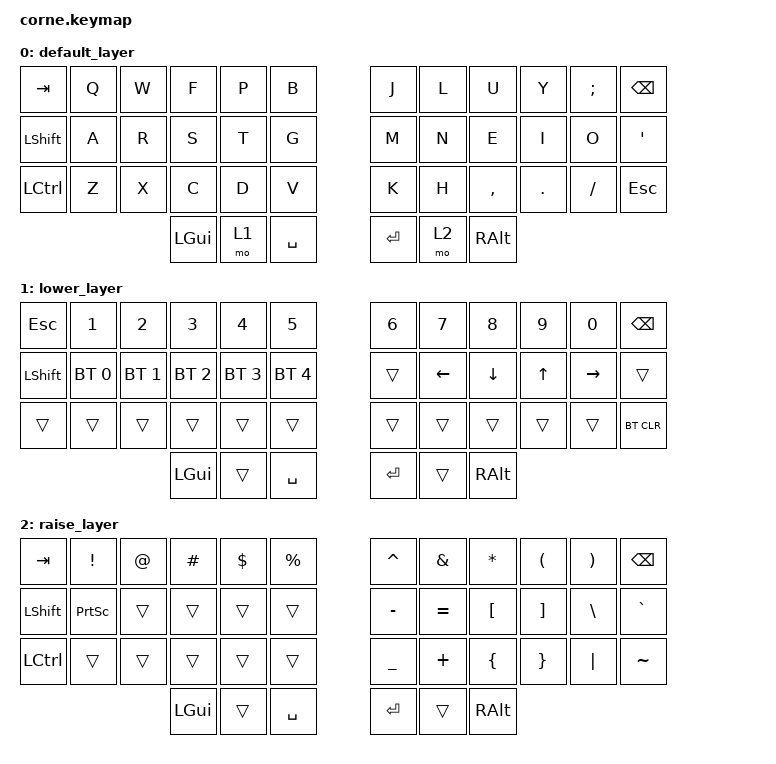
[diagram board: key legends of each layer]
/*
 * Copyright (c) 2020 The ZMK Contributors
 *
 * SPDX-License-Identifier: MIT
 */

#include <behaviors.dtsi>
#include <dt-bindings/zmk/bt.h>
#include <dt-bindings/zmk/keys.h>

/ {
    keymap {
        compatible = "zmk,keymap";

        default_layer {
            // -----------------------------------------------------------------------------------------
            // |  TAB |  Q  |  W  |  E  |  R  |  T  |   |  Y  |  U   |  I  |  O  |  P  | BSPC |
            // | CTRL |  A  |  S  |  D  |  F  |  G  |   |  H  |  J   |  K  |  L  |  ;  |  '   |
            // | SHFT |  Z  |  X  |  C  |  V  |  B  |   |  N  |  M   |  ,  |  .  |  /  | ESC  |
            //                    | GUI | LWR | SPC |   | ENT | RSE  | ALT |

            bindings = <
&kp TAB           &kp Q  &kp W  &kp F     &kp P  &kp B        &kp J    &kp L  &kp U      &kp Y    &kp SEMI  &kp BSPC
&kp LEFT_SHIFT    &kp A  &kp R  &kp S     &kp T  &kp G        &kp M    &kp N  &kp E      &kp I    &kp O     &kp APOS
&kp LEFT_CONTROL  &kp Z  &kp X  &kp C     &kp D  &kp V        &kp K    &kp H  &kp COMMA  &kp DOT  &kp FSLH  &kp ESC
                                &kp LGUI  &mo 1  &kp SPACE    &kp RET  &mo 2  &kp RALT
            >;
        };

        lower_layer {
            // -----------------------------------------------------------------------------------------
            // |  TAB |  1  |  2  |  3  |  4  |  5  |   |  6  |  7  |  8  |  9  |  0  | BSPC |
            // | BTCLR| BT1 | BT2 | BT3 | BT4 | BT5 |   | LFT | DWN |  UP | RGT |     |      |
            // | SHFT |     |     |     |     |     |   |     |     |     |     |     |      |
            //                    | GUI |     | SPC |   | ENT |     | ALT |

            bindings = <
&kp ESCAPE      &kp N1        &kp N2        &kp N3        &kp N4        &kp N5          &kp N6   &kp N7    &kp N8    &kp N9  &kp N0     &kp BSPC
&kp LEFT_SHIFT  &bt BT_SEL 0  &bt BT_SEL 1  &bt BT_SEL 2  &bt BT_SEL 3  &bt BT_SEL 4    &trans   &kp LEFT  &kp DOWN  &kp UP  &kp RIGHT  &trans
&trans          &trans        &trans        &trans        &trans        &trans          &trans   &trans    &trans    &trans  &trans     &bt BT_CLR
                                            &kp LGUI      &trans        &kp SPACE       &kp RET  &trans    &kp RALT
            >;
        };

        raise_layer {
            // -----------------------------------------------------------------------------------------
            // |  TAB |  !  |  @  |  #  |  $  |  %  |   |  ^  |  &  |  *  |  (  |  )  | BSPC |
            // | CTRL |     |     |     |     |     |   |  -  |  =  |  [  |  ]  |  \  |  `   |
            // | SHFT |     |     |     |     |     |   |  _  |  +  |  {  |  }  | "|" |  ~   |
            //                    | GUI |     | SPC |   | ENT |     | ALT |

            bindings = <
&kp TAB           &kp EXCL         &kp AT  &kp HASH  &kp DLLR  &kp PRCNT    &kp CARET  &kp AMPS   &kp ASTRK  &kp LPAR  &kp RPAR  &kp BSPC
&kp LEFT_SHIFT    &kp PRINTSCREEN  &trans  &trans    &trans    &trans       &kp MINUS  &kp EQUAL  &kp LBKT   &kp RBKT  &kp BSLH  &kp GRAVE
&kp LEFT_CONTROL  &trans           &trans  &trans    &trans    &trans       &kp UNDER  &kp PLUS   &kp LBRC   &kp RBRC  &kp PIPE  &kp TILDE
                                           &kp LGUI  &trans    &kp SPACE    &kp RET    &trans     &kp RALT
            >;
        };
    };
};
